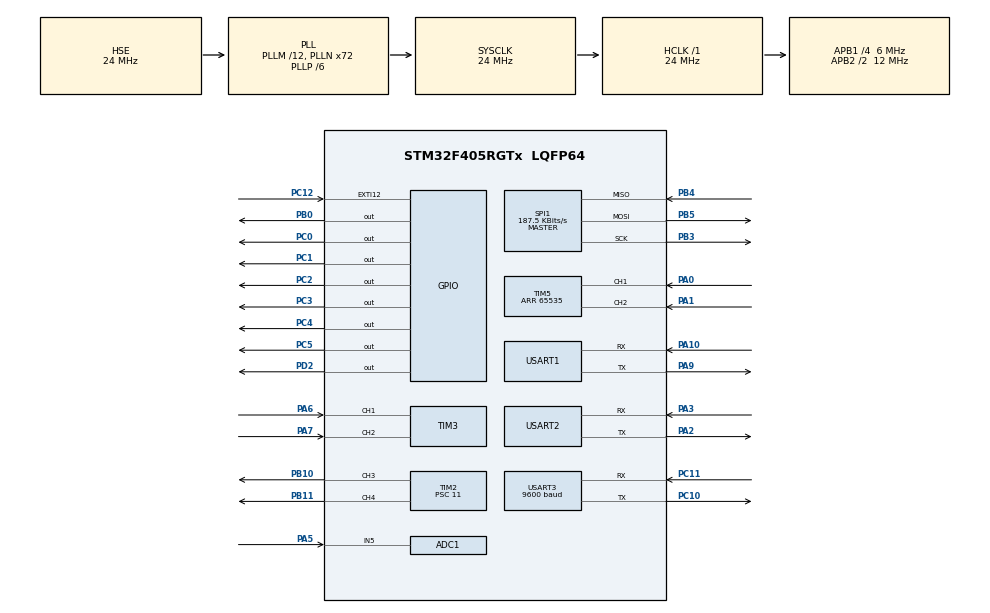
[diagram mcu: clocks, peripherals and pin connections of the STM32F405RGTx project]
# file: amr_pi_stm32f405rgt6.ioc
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ADC1.Channel-0\#ChannelRegularConversion=ADC_CHANNEL_5
ADC1.NbrOfConversionFlag=1
ADC1.Rank-0\#ChannelRegularConversion=1
ADC1.SamplingTime-0\#ChannelRegularConversion=ADC_SAMPLETIME_3CYCLES
ADC1.master=1
FREERTOS.Tasks01=Task1,2,128,StartTask1,Default,NULL,Dynamic,NULL,NULL;Task2,0,128,StartTask2,Default,NULL,Dynamic,NULL,NULL;Task3,-2,128,StartTask3,Default,NULL,Dynamic,NULL,NULL
Mcu.Family=STM32F4
Mcu.Name=STM32F405RGTx
Mcu.Package=LQFP64
NVIC.PriorityGroup=NVIC_PRIORITYGROUP_4
NVIC.TIM1_UP_TIM10_IRQn=true\:15\:0\:false\:false\:true\:false\:false\:true\:true
NVIC.TimeBase=TIM1_UP_TIM10_IRQn
NVIC.TimeBaseIP=TIM1
NVIC.USART2_IRQn=true\:5\:0\:false\:false\:true\:true\:true\:true\:true
NVIC.USART3_IRQn=true\:5\:0\:false\:false\:true\:true\:true\:true\:true
PA0-WKUP.Signal=S_TIM5_CH1
PA1.Signal=S_TIM5_CH2
PA10.Mode=Asynchronous
PA10.Signal=USART1_RX
PA11.Signal=USB_OTG_FS_DM
PA12.Signal=USB_OTG_FS_DP
PA13.Signal=SYS_JTMS-SWDIO
PA14.Signal=SYS_JTCK-SWCLK
PA2.Mode=Asynchronous
PA2.Signal=USART2_TX
PA3.Mode=Asynchronous
PA3.Signal=USART2_RX
PA5.Signal=ADCx_IN5
PA6.Signal=S_TIM3_CH1
PA7.Signal=S_TIM3_CH2
PA9.Mode=Asynchronous
PA9.Signal=USART1_TX
PB0.Signal=GPIO_Output
PB10.Signal=S_TIM2_CH3
PB11.Signal=S_TIM2_CH4
PB3.Mode=Full_Duplex_Master
PB3.Signal=SPI1_SCK
PB4.Mode=Full_Duplex_Master
PB4.Signal=SPI1_MISO
PB5.Mode=Full_Duplex_Master
PB5.Signal=SPI1_MOSI
PB6.Signal=I2C1_SCL
PB7.Signal=I2C1_SDA
PC0.Signal=GPIO_Output
PC1.Signal=GPIO_Output
PC10.Mode=Asynchronous
PC10.Signal=USART3_TX
PC11.Mode=Asynchronous
PC11.Signal=USART3_RX
PC12.Signal=GPXTI12
PC2.Signal=GPIO_Output
PC3.Signal=GPIO_Output
PC4.Signal=GPIO_Output
PC5.Signal=GPIO_Output
PD2.GPIO_Speed=GPIO_SPEED_FREQ_VERY_HIGH
PD2.Signal=GPIO_Output
PH0-OSC_IN.Mode=HSE-External-Oscillator
PH0-OSC_IN.Signal=RCC_OSC_IN
PH1-OSC_OUT.Mode=HSE-External-Oscillator
PH1-OSC_OUT.Signal=RCC_OSC_OUT
ProjectManager.HeapSize=0x200
ProjectManager.StackSize=0x400
ProjectManager.TargetToolchain=STM32CubeIDE
RCC.48MHZClocksFreq_Value=36000000
RCC.AHBFreq_Value=24000000
RCC.APB1CLKDivider=RCC_HCLK_DIV4
RCC.APB1Freq_Value=6000000
RCC.APB1TimFreq_Value=12000000
RCC.APB2CLKDivider=RCC_HCLK_DIV2
RCC.APB2Freq_Value=12000000
RCC.APB2TimFreq_Value=24000000
RCC.CortexFreq_Value=24000000
RCC.HCLKFreq_Value=24000000
RCC.HSE_VALUE=24000000
RCC.HSI_VALUE=16000000
RCC.LSE_VALUE=32768
RCC.PLLM=12
RCC.PLLN=72
RCC.PLLP=RCC_PLLP_DIV6
RCC.PLLSourceVirtual=RCC_PLLSOURCE_HSE
RCC.SYSCLKFreq_VALUE=24000000
RCC.SYSCLKSource=RCC_SYSCLKSOURCE_PLLCLK
RCC.VCOOutputFreq_Value=144000000
SH.ADCx_IN5.0=ADC1_IN5,IN5
SH.S_TIM2_CH3.0=TIM2_CH3,PWM Generation3 CH3
SH.S_TIM2_CH4.0=TIM2_CH4,PWM Generation4 CH4
SH.S_TIM3_CH1.0=TIM3_CH1,Encoder_Interface
SH.S_TIM3_CH2.0=TIM3_CH2,Encoder_Interface
SH.S_TIM5_CH1.0=TIM5_CH1,Encoder_Interface
SH.S_TIM5_CH2.0=TIM5_CH2,Encoder_Interface
SPI1.BaudRatePrescaler=SPI_BAUDRATEPRESCALER_64
SPI1.CalculateBaudRate=187.5 KBits/s
SPI1.Direction=SPI_DIRECTION_2LINES
SPI1.Mode=SPI_MODE_MASTER
SPI1.VirtualType=VM_MASTER
TIM2.AutoReloadPreload=TIM_AUTORELOAD_PRELOAD_ENABLE
TIM2.Channel-PWM\ Generation3\ CH3=TIM_CHANNEL_3
TIM2.Channel-PWM\ Generation4\ CH4=TIM_CHANNEL_4
TIM2.Period=1000
TIM2.Prescaler=11
TIM3.EncoderMode=TIM_ENCODERMODE_TI12
TIM5.EncoderMode=TIM_ENCODERMODE_TI12
TIM5.Period=65535
USART1.VirtualMode=VM_ASYNC
USART2.VirtualMode=VM_ASYNC
USART3.BaudRate=9600
USART3.VirtualMode=VM_ASYNC
VP_FREERTOS_VS_CMSIS_V1.Mode=CMSIS_V1
VP_SYS_VS_tim1.Mode=TIM1
board=custom

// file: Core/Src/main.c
/* USER CODE BEGIN Header */
/**
  ******************************************************************************
  * @file           : main.c
  * @brief          : Main program body
  ******************************************************************************
  */
/* USER CODE END Header */
#include "main.h"
#include "cmsis_os.h"
#include "adc.h"
#include "spi.h"
#include "tim.h"
#include "usart.h"
#include "gpio.h"

/* USER CODE BEGIN Includes */
#include "sensor_imu.h"
#include "driver_tb6612fng.h"
#include "sensor_encoder.h"
/* USER CODE END Includes */

void SystemClock_Config(void);
void MX_FREERTOS_Init(void);

int main(void)
{

  /* MCU Configuration--------------------------------------------------------*/

  /* Reset of all peripherals, Initializes the Flash interface and the Systick. */
  HAL_Init();

  /* Configure the system clock */
  SystemClock_Config();

  /* Initialize all configured peripherals */
  MX_GPIO_Init();
  MX_ADC1_Init();
  MX_SPI1_Init();
  MX_USART1_UART_Init();
  MX_TIM3_Init();
  MX_TIM5_Init();
  MX_TIM2_Init();
  MX_USART2_UART_Init();
  MX_USART3_UART_Init();
  /* USER CODE BEGIN 2 */

  // Khởi tạo SPI và cấu hình cảm biến BMI323
  IMU_Init();

  /* USER CODE END 2 */

  /* Call init function for freertos objects (in cmsis_os2.c) */
  MX_FREERTOS_Init();

  /* Start scheduler */
  osKernelStart();

  /* We should never get here as control is now taken by the scheduler */

  /* Infinite loop */
  /* USER CODE BEGIN WHILE */
    while (1)
    {
        // Cập nhật dữ liệu từ cảm biến
        //IMU_Read_Data();
        //Motor_Run(500, -500);
        // Chờ 10ms
        HAL_Delay(10);

    /* USER CODE END WHILE */

  }
}

void SystemClock_Config(void)
{
  RCC_OscInitTypeDef RCC_OscInitStruct = {0};
  RCC_ClkInitTypeDef RCC_ClkInitStruct = {0};

  /** Configure the main internal regulator output voltage
  */
  __HAL_RCC_PWR_CLK_ENABLE();
  __HAL_PWR_VOLTAGESCALING_CONFIG(PWR_REGULATOR_VOLTAGE_SCALE1);

  /** Initializes the RCC Oscillators according to the specified parameters
  * in the RCC_OscInitTypeDef structure.
  */
  RCC_OscInitStruct.OscillatorType = RCC_OSCILLATORTYPE_HSE;
  RCC_OscInitStruct.HSEState = RCC_HSE_ON;
  RCC_OscInitStruct.PLL.PLLState = RCC_PLL_ON;
  RCC_OscInitStruct.PLL.PLLSource = RCC_PLLSOURCE_HSE;
  RCC_OscInitStruct.PLL.PLLM = 12;
  RCC_OscInitStruct.PLL.PLLN = 72;
  RCC_OscInitStruct.PLL.PLLP = RCC_PLLP_DIV6;
  RCC_OscInitStruct.PLL.PLLQ = 4;
  if (HAL_RCC_OscConfig(&RCC_OscInitStruct) != HAL_OK)
  {
    Error_Handler();
  }

  /** Initializes the CPU, AHB and APB buses clocks
  */
  RCC_ClkInitStruct.ClockType = RCC_CLOCKTYPE_HCLK|RCC_CLOCKTYPE_SYSCLK
                              |RCC_CLOCKTYPE_PCLK1|RCC_CLOCKTYPE_PCLK2;
  RCC_ClkInitStruct.SYSCLKSource = RCC_SYSCLKSOURCE_PLLCLK;
  RCC_ClkInitStruct.AHBCLKDivider = RCC_SYSCLK_DIV1;
  RCC_ClkInitStruct.APB1CLKDivider = RCC_HCLK_DIV4;
  RCC_ClkInitStruct.APB2CLKDivider = RCC_HCLK_DIV2;

  if (HAL_RCC_ClockConfig(&RCC_ClkInitStruct, FLASH_LATENCY_0) != HAL_OK)
  {
    Error_Handler();
  }
}

void HAL_TIM_PeriodElapsedCallback(TIM_HandleTypeDef *htim)
{
  if (htim->Instance == TIM1)
  {
    HAL_IncTick();
  }
}

void Error_Handler(void)
{
  /* USER CODE BEGIN Error_Handler_Debug */
  __disable_irq();
  HAL_GPIO_WritePin(GPIOC, GPIO_PIN_4, GPIO_PIN_SET);
  while (1)
  {
  }
  /* USER CODE END Error_Handler_Debug */
}

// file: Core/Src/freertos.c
/* USER CODE BEGIN Header */
/**
  ******************************************************************************
  * File Name          : freertos.c
  * Description        : Code for freertos applications
  ******************************************************************************
  * @attention
  *
  * Copyright (c) 2026 STMicroelectronics.
  * All rights reserved.
  *
  * This software is licensed under terms that can be found in the LICENSE file
  * in the root directory of this software component.
  * If no LICENSE file comes with this software, it is provided AS-IS.
  *
  ******************************************************************************
  */
/* USER CODE END Header */

#include "FreeRTOS.h"
#include "task.h"
#include "main.h"
#include "cmsis_os.h"

/* USER CODE BEGIN Includes */
#include "sensor_battery.h"
#include "sensor_encoder.h"
#include "sensor_imu.h"
#include "communicate_uart_pi.h"
#include "motion_control.h"
/* USER CODE END Includes */

osThreadId Task1Handle;
osThreadId Task2Handle;
osThreadId Task3Handle;

void StartTask1(void const * argument);
void StartTask2(void const * argument);
void StartTask3(void const * argument);

void MX_FREERTOS_Init(void); /* (MISRA C 2004 rule 8.1) */

/* GetIdleTaskMemory prototype (linked to static allocation support) */
void vApplicationGetIdleTaskMemory( StaticTask_t **ppxIdleTaskTCBBuffer, StackType_t **ppxIdleTaskStackBuffer, uint32_t *pulIdleTaskStackSize );

/* USER CODE BEGIN GET_IDLE_TASK_MEMORY */
static StaticTask_t xIdleTaskTCBBuffer;
static StackType_t xIdleStack[configMINIMAL_STACK_SIZE];

void vApplicationGetIdleTaskMemory( StaticTask_t **ppxIdleTaskTCBBuffer, StackType_t **ppxIdleTaskStackBuffer, uint32_t *pulIdleTaskStackSize )
{
  *ppxIdleTaskTCBBuffer = &xIdleTaskTCBBuffer;
  *ppxIdleTaskStackBuffer = &xIdleStack[0];
  *pulIdleTaskStackSize = configMINIMAL_STACK_SIZE;
  /* place for user code */
}
/* USER CODE END GET_IDLE_TASK_MEMORY */

void MX_FREERTOS_Init(void) {

  /* Create the thread(s) */
  /* definition and creation of Task1 */
  osThreadDef(Task1, StartTask1, osPriorityHigh, 0, 128);
  Task1Handle = osThreadCreate(osThread(Task1), NULL);

  /* definition and creation of Task2 */
  osThreadDef(Task2, StartTask2, osPriorityNormal, 0, 128);
  Task2Handle = osThreadCreate(osThread(Task2), NULL);

  /* definition and creation of Task3 */
  osThreadDef(Task3, StartTask3, osPriorityLow, 0, 128);
  Task3Handle = osThreadCreate(osThread(Task3), NULL);

}

void StartTask1(void const * argument)
{
  /* USER CODE BEGIN StartTask1 */
  Motion_Control_Init();

  const float dt = 0.005f; // Chu kỳ lấy mẫu 5ms

  /* Infinite loop */
  for(;;)
  {
    Motion_Control_Update(dt);
    osDelay(5);
  }
  /* USER CODE END StartTask1 */
}

void StartTask2(void const * argument)
{
  /* USER CODE BEGIN StartTask2 */
  CommPi_Init();
  /* Infinite loop */
  for(;;)
  {
    CommPi_SendTelemetry(left_encoder, right_encoder, gz_dps, battery_voltage);
    //CommPi_CheckTimeout(500);
    osDelay(20);
  }
  /* USER CODE END StartTask2 */
}

void StartTask3(void const * argument)
{
  /* USER CODE BEGIN StartTask3 */
  Battery_Init();
  /* Infinite loop */
  for(;;)
  {
    Battery_Read();
    osDelay(500);
  }
  /* USER CODE END StartTask3 */
}
